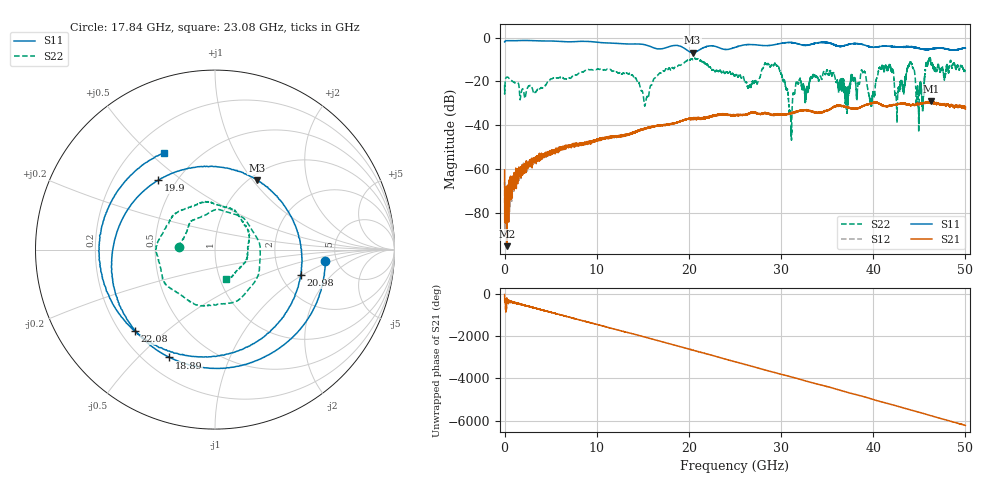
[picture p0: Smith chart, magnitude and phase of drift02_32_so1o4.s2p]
!Created with skrf (http://scikit-rf.org).
# Hz S RI R 50.0
!freq ReS11 ImS11 ReS21 ImS21 ReS12 ImS12 ReS22 ImS22
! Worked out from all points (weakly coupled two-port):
!   10001 points, 300 kHz to 50 GHz, reference 50 ohm
!   highest |S21| = -29.09 dB at 46.28 GHz (marker M1); lowest = -94.9 dB at 275.3 MHz (marker M2)
!   lowest |S11| = -6.9 dB at 20.4 GHz (marker M3), VSWR 2.64, Z = 54 + j52.3 ohm
!   |S11| at or under -10 dB: nowhere
!   |S22| runs from -46.7 to -9.1 dB; largest |S21 - S12| = 0.0032
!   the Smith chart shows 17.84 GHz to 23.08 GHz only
!   S11 on the Smith chart (normalised r, x): 17.84 GHz: 4.06, -0.82; 18.89 GHz: 0.30, -0.62; 19.9 GHz: 0.40, +0.41; 20.98 GHz: 2.56, -0.97; 22.08 GHz: 0.26, -0.40; 23.08 GHz: 0.32, +0.56
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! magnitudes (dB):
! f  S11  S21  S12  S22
! 300 kHz  -2.1  -60.2  -65.7  -21.6
! 275.3 MHz  -1.4  -94.9  -71.3  -18.0
! 8.335 GHz  -1.7  -48.5  -48.4  -15.7
! 15.32 GHz  -3.4  -41.5  -41.1  -29.3
! 16.67 GHz  -5.2  -40.1  -39.9  -17.0
! 17.84 GHz  -4.2  -39.4  -39.4  -14.0
! 18.89 GHz  -3.7  -38.5  -38.4  -12.6
! 19.9 GHz  -6.0  -36.9  -37.0  -10.1
! 20.4 GHz  -6.9  -37.0  -37.0  -10.0
! 20.98 GHz  -6.1  -36.7  -37.0  -9.7
! 22.08 GHz  -3.9  -36.2  -36.2  -12.9
! 23.08 GHz  -4.3  -35.3  -35.1  -15.0
! 25 GHz  -4.5  -35.6  -35.5  -17.5
! 29.5 GHz  -3.0  -34.9  -35.2  -12.6
! 31.03 GHz  -2.3  -34.3  -34.6  -36.3
! 33.34 GHz  -3.0  -33.5  -33.5  -18.3
! 38.91 GHz  -3.2  -31.1  -31.0  -16.2
! 39.73 GHz  -4.4  -30.1  -29.9  -30.9
! 41.67 GHz  -4.0  -31.1  -31.2  -13.2
! 45.15 GHz  -5.1  -30.0  -30.0  -21.5
! 46.28 GHz  -5.3  -29.1  -29.4  -11.7
! 50 GHz  -4.7  -32.4  -31.7  -15.9
